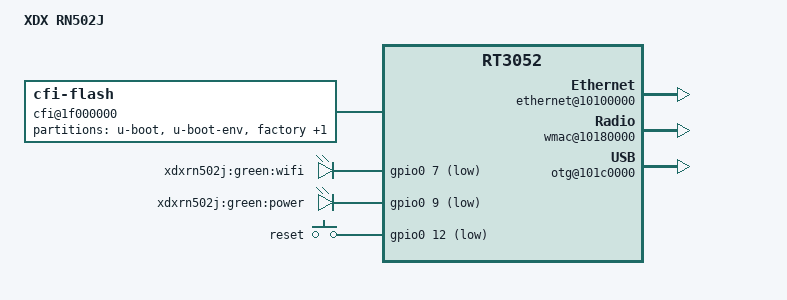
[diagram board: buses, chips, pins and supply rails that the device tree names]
/dts-v1/;

/include/ "rt3050.dtsi"

/ {
	compatible = "XDXRN502J", "ralink,rt3052-soc";
	model = "XDX RN502J";

	palmbus@10000000 {
		sysc@0 {
			ralink,pinmux = "i2c", "spi", "uartlite", "jtag", "sdram", "rgmii";
			ralink,gpiomux = "mdio";
			ralink,uartmux = "gpio";
			ralink,wdtmux = <1>;
		};

		gpio0: gpio@600 {
			status = "okay";
		};
	};

	cfi@1f000000 {
		compatible = "cfi-flash";
		reg = <0x1f000000 0x800000>;

		bank-width = <2>;
		device-width = <2>;
		#address-cells = <1>;
		#size-cells = <1>;

		partition@0 {
			label = "u-boot";
			reg = <0x0 0x30000>;
			read-only;
		};

		partition@30000 {
			label = "u-boot-env";
			reg = <0x30000 0x10000>;
			read-only;
		};

		factory: partition@40000 {
			label = "factory";
			reg = <0x40000 0x10000>;
			read-only;
		};

		partition@50000 {
			label = "firmware";
			reg = <0x50000 0x3b0000>;
		};
	};

	ethernet@10100000 {
		status = "okay";
	};

	esw@10110000 {
		status = "okay";
		ralink,portmap = <0x3e>;
	};

	gpio-leds {
		compatible = "gpio-leds";
		wifi {
			label = "xdxrn502j:green:wifi";
			gpios = <&gpio0 7 1>;
		};
		power {
			label = "xdxrn502j:green:power";
			gpios = <&gpio0 9 1>;
		};
	};

	gpio-keys-polled {
		compatible = "gpio-keys-polled";
		#address-cells = <1>;
		#size-cells = <0>;
		poll-interval = <20>;
		reset {
			label = "reset";
			gpios = <&gpio0 12 1>;
			linux,code = <0x198>;
		};
	};

	wmac@10180000 {
		status = "okay";
	};

	otg@101c0000 {
		status = "okay";
	};
};
